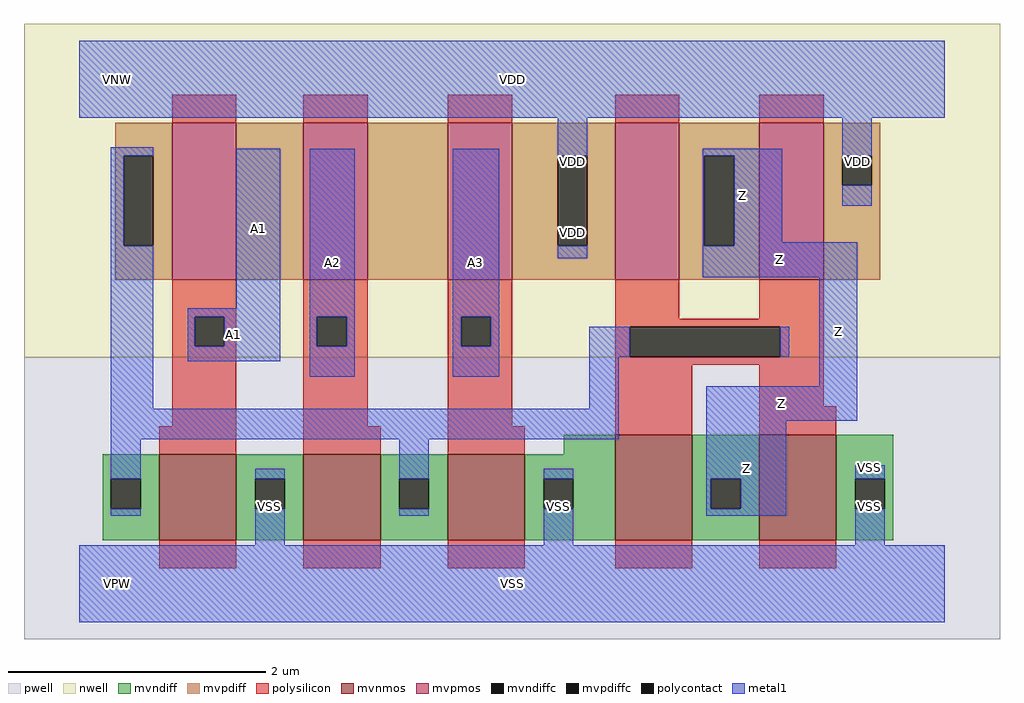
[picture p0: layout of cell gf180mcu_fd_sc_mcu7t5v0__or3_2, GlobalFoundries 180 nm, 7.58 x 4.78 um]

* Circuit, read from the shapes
.subckt gf180mcu_fd_sc_mcu7t5v0__or3_2 A1 A2 A3 Z VDD VNW VPW VSS
XM1 VSS A1 n1 VPW nfet_06v0 w=0.665u l=0.6u
XM2 n1 A2 VSS VPW nfet_06v0 w=0.665u l=0.6u
XM3 VSS A3 n1 VPW nfet_06v0 w=0.665u l=0.6u
XM4 Z n1 VSS VPW nfet_06v0 w=0.82u l=0.6u m=2
XM5 n2 A1 n1 VNW pfet_06v0 w=1.22u l=0.5u
XM6 n3 A2 n2 VNW pfet_06v0 w=1.22u l=0.5u
XM7 VDD A3 n3 VNW pfet_06v0 w=1.22u l=0.5u
XM8 Z n1 VDD VNW pfet_06v0 w=1.22u l=0.5u m=2
.ends

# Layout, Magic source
magic
tech gf180mcuD
magscale 1 10
<< nwell >>
rect -86 352 1430 870
<< pwell >>
rect -86 -86 1430 352
<< mvnmos >>
rect 124 68 244 201
rect 348 68 468 201
rect 572 68 692 201
rect 832 68 952 232
rect 1056 68 1176 232
<< mvpmos >>
rect 144 472 244 716
rect 348 472 448 716
rect 572 472 672 716
rect 832 472 932 716
rect 1056 472 1156 716
<< mvndiff >>
rect 752 201 832 232
rect 36 163 124 201
rect 36 117 49 163
rect 95 117 124 163
rect 36 68 124 117
rect 244 163 348 201
rect 244 117 273 163
rect 319 117 348 163
rect 244 68 348 117
rect 468 163 572 201
rect 468 117 497 163
rect 543 117 572 163
rect 468 68 572 117
rect 692 163 832 201
rect 692 117 721 163
rect 767 117 832 163
rect 692 68 832 117
rect 952 163 1056 232
rect 952 117 981 163
rect 1027 117 1056 163
rect 952 68 1056 117
rect 1176 163 1264 232
rect 1176 117 1205 163
rect 1251 117 1264 163
rect 1176 68 1264 117
<< mvpdiff >>
rect 56 665 144 716
rect 56 525 69 665
rect 115 525 144 665
rect 56 472 144 525
rect 244 472 348 716
rect 448 472 572 716
rect 672 665 832 716
rect 672 525 743 665
rect 789 525 832 665
rect 672 472 832 525
rect 932 665 1056 716
rect 932 525 971 665
rect 1017 525 1056 665
rect 932 472 1056 525
rect 1156 665 1244 716
rect 1156 619 1185 665
rect 1231 619 1244 665
rect 1156 472 1244 619
<< mvndiffc >>
rect 49 117 95 163
rect 273 117 319 163
rect 497 117 543 163
rect 721 117 767 163
rect 981 117 1027 163
rect 1205 117 1251 163
<< mvpdiffc >>
rect 69 525 115 665
rect 743 525 789 665
rect 971 525 1017 665
rect 1185 619 1231 665
<< polysilicon >>
rect 144 716 244 760
rect 348 716 448 760
rect 572 716 672 760
rect 832 716 932 760
rect 1056 716 1156 760
rect 144 415 244 472
rect 144 369 179 415
rect 225 369 244 415
rect 144 245 244 369
rect 124 201 244 245
rect 348 415 448 472
rect 348 369 369 415
rect 415 369 448 415
rect 348 245 448 369
rect 572 415 672 472
rect 572 369 593 415
rect 639 369 672 415
rect 572 245 672 369
rect 832 412 932 472
rect 1056 412 1156 472
rect 832 399 1156 412
rect 832 353 855 399
rect 1089 353 1156 399
rect 832 340 1156 353
rect 348 201 468 245
rect 572 201 692 245
rect 832 232 952 340
rect 1056 276 1156 340
rect 1056 232 1176 276
rect 124 24 244 68
rect 348 24 468 68
rect 572 24 692 68
rect 832 24 952 68
rect 1056 24 1176 68
<< polycontact >>
rect 179 369 225 415
rect 369 369 415 415
rect 593 369 639 415
rect 855 353 1089 399
<< metal1 >>
rect 0 724 1344 844
rect 49 665 115 678
rect 49 525 69 665
rect 49 272 115 525
rect 244 428 312 676
rect 168 415 312 428
rect 168 369 179 415
rect 225 369 312 415
rect 168 346 312 369
rect 358 415 428 676
rect 358 369 369 415
rect 415 369 428 415
rect 358 322 428 369
rect 580 415 652 676
rect 743 665 789 724
rect 743 506 789 525
rect 968 665 1092 676
rect 968 525 971 665
rect 1017 531 1092 665
rect 1185 665 1231 724
rect 1185 587 1231 619
rect 1017 525 1208 531
rect 968 476 1208 525
rect 580 369 593 415
rect 639 369 652 415
rect 580 322 652 369
rect 792 353 855 399
rect 1089 353 1103 399
rect 792 272 838 353
rect 1149 307 1208 476
rect 49 225 838 272
rect 974 253 1208 307
rect 49 163 95 225
rect 49 106 95 117
rect 273 163 319 179
rect 273 60 319 117
rect 497 163 543 225
rect 497 106 543 117
rect 721 163 767 179
rect 721 60 767 117
rect 974 163 1098 253
rect 974 117 981 163
rect 1027 117 1098 163
rect 974 106 1098 117
rect 1205 163 1251 184
rect 1205 60 1251 117
rect 0 -60 1344 60
<< labels >>
flabel metal1 s 580 322 652 676 0 FreeSans 400 0 0 0 A3
port 3 nsew default input
flabel metal1 s 0 724 1344 844 0 FreeSans 400 0 0 0 VDD
port 5 nsew power bidirectional abutment
flabel metal1 s 1205 179 1251 184 0 FreeSans 400 0 0 0 VSS
port 8 nsew ground bidirectional abutment
flabel metal1 s 968 531 1092 676 0 FreeSans 400 0 0 0 Z
port 4 nsew default output
flabel metal1 s 244 428 312 676 0 FreeSans 400 0 0 0 A1
port 1 nsew default input
flabel metal1 s 358 322 428 676 0 FreeSans 400 0 0 0 A2
port 2 nsew default input
flabel nwell s 10 734 110 834 0 FreeSans 400 0 0 0 VNW
port 6 nsew power bidirectional
flabel pwell s 10 -50 110 50 0 FreeSans 400 0 0 0 VPW
port 7 nsew ground bidirectional
rlabel metal1 s 168 346 312 428 1 A1
port 1 nsew default input
rlabel metal1 s 968 476 1208 531 1 Z
port 4 nsew default output
rlabel metal1 s 1149 307 1208 476 1 Z
port 4 nsew default output
rlabel metal1 s 974 253 1208 307 1 Z
port 4 nsew default output
rlabel metal1 s 974 106 1098 253 1 Z
port 4 nsew default output
rlabel metal1 s 1185 587 1231 724 1 VDD
port 5 nsew power bidirectional abutment
rlabel metal1 s 743 587 789 724 1 VDD
port 5 nsew power bidirectional abutment
rlabel metal1 s 743 506 789 587 1 VDD
port 5 nsew power bidirectional abutment
rlabel metal1 s 1205 60 1251 179 1 VSS
port 8 nsew ground bidirectional abutment
rlabel metal1 s 721 60 767 179 1 VSS
port 8 nsew ground bidirectional abutment
rlabel metal1 s 273 60 319 179 1 VSS
port 8 nsew ground bidirectional abutment
rlabel metal1 s 0 -60 1344 60 1 VSS
port 8 nsew ground bidirectional abutment
<< properties >>
string FIXED_BBOX 0 0 1344 784
string GDS_END 162208
string GDS_FILE $PDKPATH/libs.ref/gf180mcu_fd_sc_mcu7t5v0/gds/gf180mcu_fd_sc_mcu7t5v0.gds
string GDS_START 158400
string LEFclass core
string LEFsite GF018hv5v_mcu_sc7
string LEFsymmetry X Y
<< end >>
